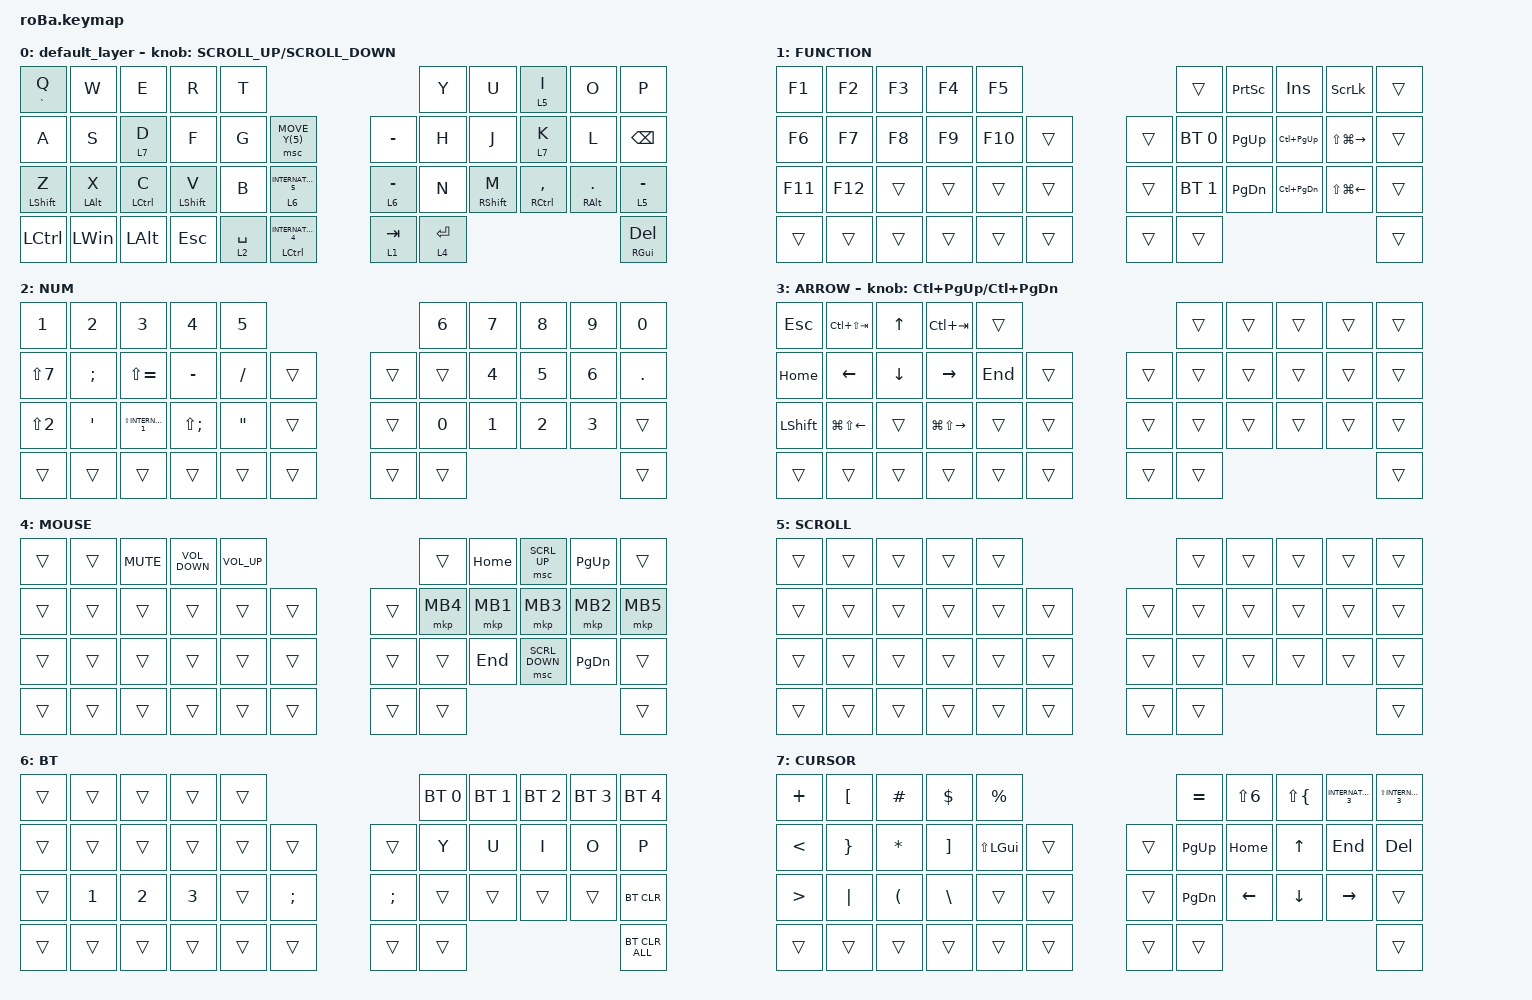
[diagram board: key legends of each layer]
#include <behaviors.dtsi>
#include <dt-bindings/zmk/bt.h>
#include <dt-bindings/zmk/keys.h>
#include <dt-bindings/zmk/pointing.h>

&mt {
    flavor = "balanced";
    quick-tap-ms = <0>;
};

&trackball {
    scroll-layers = <5>;

    // arrows {
    //     layers = <3>;
    //     bindings =
    //         <&kp RIGHT_ARROW>,
    //         <&kp LEFT_ARROW>,
    //         <&kp UP_ARROW>,
    //         <&kp DOWN_ARROW>;
    //     tick = <10>;
    //     wait-ms = <5>;
    //     tap-ms = <5>;
    // };
};

/ {
    combos {
        compatible = "zmk,combos";

        tab {
            bindings = <&kp TAB>;
            key-positions = <11 12>;
        };

        shift_tab {
            bindings = <&kp LS(TAB)>;
            key-positions = <12 13>;
        };

        muhennkann {
            bindings = <&to_layer_0 INT_MUHENKAN>;
            key-positions = <11 10>;
        };

        double_quotation {
            bindings = <&kp DOUBLE_QUOTES>;
            key-positions = <20 21>;
        };

        eq {
            bindings = <&kp EQUAL>;
            key-positions = <24 25>;
        };
    };

    macros {
        to_layer_0: to_layer_0 {
            compatible = "zmk,behavior-macro-one-param";
            #binding-cells = <1>;
            bindings = <&to 0 &macro_param_1to1 &kp MACRO_PLACEHOLDER>;
            label = "TO_LAYER_0";
        };

        exit_AML: exit_AML {
            compatible = "zmk,behavior-macro";
            wait-ms = <0>;
            tap-ms = <0>;
            #binding-cells = <0>;
            bindings = <&tog_off MOUSE>;
            label = "exit_AML";
        };

        kp_exit_AML: kp_exit_AML {
            compatible = "zmk,behavior-macro-one-param";
            wait-ms = <0>;
            tap-ms = <0>;
            #binding-cells = <1>;
            bindings = <&macro_param_1to1 &kp MACRO_PLACEHOLDER &exit_AML>;
            label = "KP_exit_AML";
        };
    };

    behaviors {
        lt_to_layer_0: lt_to_layer_0 {
            compatible = "zmk,behavior-hold-tap";
            label = "LAYER_TAP_TO_0";
            bindings = <&mo &to_layer_0>;


            #binding-cells = <2>;
            tapping-term-ms = <200>;
        };

        tog_off: toggle_layer_off {
            compatible = "zmk,behavior-toggle-layer";
            #binding-cells = <1>;
            display-name = "Toggle Layer Off";
            toggle-mode = "off";
        };

        mt_exit_AML_on_tap: mt_exit_AML_on_tap {
            compatible = "zmk,behavior-hold-tap";
            label = "MT_exit_AML_ON_TAP";
            bindings = <&kp>, <&kp_exit_AML>;

            #binding-cells = <2>;
            tapping-term-ms = <200>;
            flavor = "balanced";
            quick-tap-ms = <200>;
        };
    };

    keymap {
        compatible = "zmk,keymap";

        default_layer {
            bindings = <
&mt GRAVE Q       &kp W           &kp E               &kp R             &kp T                                                           &kp Y        &kp U              &lt 5 I                  &kp O              &kp P
&kp A             &kp S           &lt 7 D             &kp F             &kp G        &msc MOVE_Y(5)                        &kp MINUS    &kp H        &kp J              &lt_to_layer_0 7 K       &kp L              &kp BACKSPACE
&mt LEFT_SHIFT Z  &mt LEFT_ALT X  &mt LEFT_CONTROL C  &mt LEFT_SHIFT V  &kp B        &lt 6 INTERNATIONAL_5                 &lt 6 MINUS  &kp N        &mt RIGHT_SHIFT M  &mt RIGHT_CONTROL COMMA  &mt RIGHT_ALT DOT  &lt 5 MINUS
&kp LCTRL         &kp LEFT_WIN    &kp LEFT_ALT        &kp ESCAPE        &lt 2 SPACE  &mt LEFT_CONTROL INTERNATIONAL_4      &lt 1 TAB    &lt 4 ENTER                                                                 &mt RIGHT_GUI DEL
            >;

            sensor-bindings = <&inc_dec_kp K_SCROLL_UP K_SCROLL_DOWN>;
        };

        FUNCTION {
            bindings = <
&kp F1   &kp F2   &kp F3  &kp F4  &kp F5                       &trans        &kp PRINTSCREEN  &kp INSERT         &kp SCROLLLOCK     &trans
&kp F6   &kp F7   &kp F8  &kp F9  &kp F10  &trans      &trans  &bt BT_SEL 0  &kp PAGE_UP      &kp LC(PAGE_UP)    &kp LS(LG(RIGHT))  &trans
&kp F11  &kp F12  &trans  &trans  &trans   &trans      &trans  &bt BT_SEL 1  &kp PAGE_DOWN    &kp LC(PAGE_DOWN)  &kp LS(LG(LEFT))   &trans
&trans   &trans   &trans  &trans  &trans   &trans      &trans  &trans                                                               &trans
            >;
        };

        NUM {
            bindings = <
&kp NUMBER_1      &kp NUMBER_2    &kp NUMBER_3             &kp NUMBER_4       &kp N5                                 &kp NUMBER_6  &kp N7        &kp N8        &kp N9        &kp N0
&kp LS(N7)        &kp SEMICOLON   &kp LS(EQUAL)            &kp MINUS          &kp SLASH          &trans      &trans  &trans        &kp NUMBER_4  &kp N5        &kp NUMBER_6  &kp PERIOD
&kp LS(NUMBER_2)  &kp APOSTROPHE  &kp LS(INTERNATIONAL_1)  &kp LS(SEMICOLON)  &kp DOUBLE_QUOTES  &trans      &trans  &kp N0        &kp NUMBER_1  &kp NUMBER_2  &kp NUMBER_3  &trans
&trans            &trans          &trans                   &trans             &trans             &trans      &trans  &trans                                                  &trans
            >;
        };

        ARROW {
            bindings = <
&kp ESCAPE      &kp LC(LS(TAB))         &kp UP_ARROW    &kp LC(TAB)              &trans                       &trans  &trans  &trans  &trans  &trans
&kp HOME        &kp LEFT_ARROW          &kp DOWN_ARROW  &kp RIGHT_ARROW          &kp END  &trans      &trans  &trans  &trans  &trans  &trans  &trans
&kp LEFT_SHIFT  &kp LG(LS(LEFT_ARROW))  &trans          &kp LG(LS(RIGHT_ARROW))  &trans   &trans      &trans  &trans  &trans  &trans  &trans  &trans
&trans          &trans                  &trans          &trans                   &trans   &trans      &trans  &trans                          &trans
            >;

            sensor-bindings = <&inc_dec_kp LC(PAGE_UP) LC(PAGE_DOWN)>;
        };

        MOUSE {
            bindings = <
&trans  &trans  &kp K_MUTE  &kp C_VOLUME_DOWN  &kp C_VOLUME_UP                      &trans    &kp HOME  &msc SCRL_UP    &kp PAGE_UP    &trans
&trans  &trans  &trans      &trans             &trans           &trans      &trans  &mkp MB4  &mkp MB1  &mkp MB3        &mkp MB2       &mkp MB5
&trans  &trans  &trans      &trans             &trans           &trans      &trans  &trans    &kp END   &msc SCRL_DOWN  &kp PAGE_DOWN  &trans
&trans  &trans  &trans      &trans             &trans           &trans      &trans  &trans                                             &trans
            >;
        };

        SCROLL {
            bindings = <
&trans  &trans  &trans  &trans  &trans                      &trans  &trans  &trans  &trans  &trans
&trans  &trans  &trans  &trans  &trans  &trans      &trans  &trans  &trans  &trans  &trans  &trans
&trans  &trans  &trans  &trans  &trans  &trans      &trans  &trans  &trans  &trans  &trans  &trans
&trans  &trans  &trans  &trans  &trans  &trans      &trans  &trans                          &trans
            >;
        };

        BT {
            bindings = <
&trans  &trans        &trans        &trans        &trans                                    &bt BT_SEL 0  &bt BT_SEL 1  &bt BT_SEL 2  &bt BT_SEL 3  &bt BT_SEL 4
&trans  &trans        &trans        &trans        &trans  &trans             &trans         &kp Y         &kp U         &kp I         &kp O         &kp P
&trans  &kp NUMBER_1  &kp NUMBER_2  &kp NUMBER_3  &trans  &kp SEMICOLON      &kp SEMICOLON  &trans        &trans        &trans        &trans        &bt BT_CLR
&trans  &trans        &trans        &trans        &trans  &trans             &trans         &trans                                                  &bt BT_CLR_ALL
            >;
        };

        CURSOR {
            bindings = <
&kp PLUS          &kp LEFT_BRACKET  &kp HASH              &kp DOLLAR         &kp PERCENT                           &kp EQUAL      &kp LS(NUMBER_6)  &kp LS(LEFT_BRACE)  &kp INTERNATIONAL_3  &kp LS(INTERNATIONAL_3)
&kp LESS_THAN     &kp RIGHT_BRACE   &kp ASTRK             &kp RIGHT_BRACKET  &kp LS(LEFT_GUI)  &trans      &trans  &kp PAGE_UP    &kp HOME          &kp UP_ARROW        &kp END              &kp DELETE
&kp GREATER_THAN  &kp PIPE          &kp LEFT_PARENTHESIS  &kp BACKSLASH      &trans            &trans      &trans  &kp PAGE_DOWN  &kp LEFT_ARROW    &kp DOWN            &kp RIGHT            &trans
&trans            &trans            &trans                &trans             &trans            &trans      &trans  &trans                                                                    &trans
            >;
        };
    };
};
